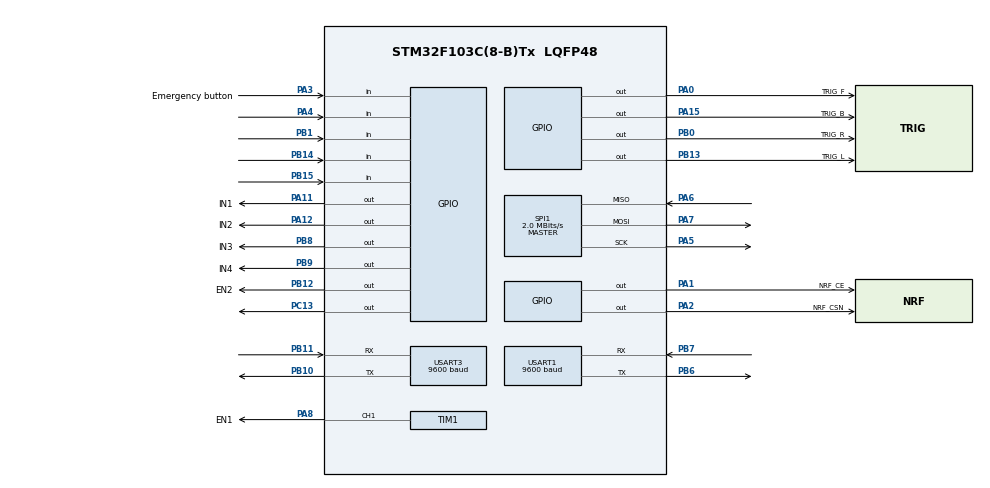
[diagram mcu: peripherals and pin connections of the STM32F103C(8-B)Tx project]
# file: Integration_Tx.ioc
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Mcu.Family=STM32F1
Mcu.Name=STM32F103C(8-B)Tx
Mcu.Package=LQFP48
NVIC.PriorityGroup=NVIC_PRIORITYGROUP_4
NVIC.TIM3_IRQn=true\:0\:0\:false\:false\:true\:true\:true\:true
NVIC.USART1_IRQn=true\:0\:0\:false\:false\:true\:true\:true\:true
PA0-WKUP.GPIO_Label=TRIG_F
PA0-WKUP.Signal=GPIO_Output
PA1.GPIO_Label=NRF_CE
PA1.Signal=GPIO_Output
PA11.GPIO_Label=IN1
PA11.Signal=GPIO_Output
PA12.GPIO_Label=IN2
PA12.Signal=GPIO_Output
PA13.Mode=Serial_Wire
PA13.Signal=SYS_JTMS-SWDIO
PA14.Mode=Serial_Wire
PA14.Signal=SYS_JTCK-SWCLK
PA15.GPIO_Label=TRIG_B
PA15.Signal=GPIO_Output
PA2.GPIO_Label=NRF_CSN
PA2.Signal=GPIO_Output
PA3.GPIO_Label=Emergency button
PA3.Signal=GPIO_Input
PA4.Signal=GPIO_Input
PA5.Mode=Full_Duplex_Master
PA5.Signal=SPI1_SCK
PA6.Mode=Full_Duplex_Master
PA6.Signal=SPI1_MISO
PA7.Mode=Full_Duplex_Master
PA7.Signal=SPI1_MOSI
PA8.GPIO_Label=EN1
PA8.Signal=S_TIM1_CH1
PB0.GPIO_Label=TRIG_R
PB0.Signal=GPIO_Output
PB1.Signal=GPIO_Input
PB10.Mode=Asynchronous
PB10.Signal=USART3_TX
PB11.Mode=Asynchronous
PB11.Signal=USART3_RX
PB12.GPIO_Label=EN2
PB12.Signal=GPIO_Output
PB13.GPIO_Label=TRIG_L
PB13.Signal=GPIO_Output
PB14.Signal=GPIO_Input
PB15.Signal=GPIO_Input
PB6.Mode=Asynchronous
PB6.Signal=USART1_TX
PB7.Mode=Asynchronous
PB7.Signal=USART1_RX
PB8.GPIO_Label=IN3
PB8.Signal=GPIO_Output
PB9.GPIO_Label=IN4
PB9.Signal=GPIO_Output
PC13-TAMPER-RTC.PinState=GPIO_PIN_SET
PC13-TAMPER-RTC.Signal=GPIO_Output
PD0-OSC_IN.Mode=HSE-External-Oscillator
PD0-OSC_IN.Signal=RCC_OSC_IN
PD1-OSC_OUT.Mode=HSE-External-Oscillator
PD1-OSC_OUT.Signal=RCC_OSC_OUT
ProjectManager.HeapSize=0x200
ProjectManager.StackSize=0x400
ProjectManager.TargetToolchain=STM32CubeIDE
RCC.APB1Freq_Value=8000000
RCC.APB2Freq_Value=8000000
RCC.PLLSourceVirtual=RCC_PLLSOURCE_HSE
RCC.SYSCLKSource=RCC_SYSCLKSOURCE_HSE
RCC.TimSys_Div=SYSTICK_CLKSOURCE_HCLK_DIV8
RCC.USBFreq_Value=16000000
SH.S_TIM1_CH1.0=TIM1_CH1,PWM Generation1 CH1
SPI1.BaudRatePrescaler=SPI_BAUDRATEPRESCALER_4
SPI1.CalculateBaudRate=2.0 MBits/s
SPI1.Direction=SPI_DIRECTION_2LINES
SPI1.Mode=SPI_MODE_MASTER
SPI1.VirtualType=VM_MASTER
TIM1.Channel-PWM\ Generation1\ CH1=TIM_CHANNEL_1
TIM1.Period=256
TIM1.Prescaler=64
TIM3.Period=50000
TIM3.Prescaler=32
USART1.BaudRate=9600
USART1.VirtualMode=VM_ASYNC
USART3.BaudRate=9600
USART3.VirtualMode=VM_ASYNC
VP_TIM2_VS_ClockSourceINT.Mode=Internal
VP_TIM3_VS_ClockSourceINT.Mode=Internal
board=custom

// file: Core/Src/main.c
/* USER CODE BEGIN Header */
/**
  ******************************************************************************
  * @file           : main.c
  * @brief          : Main program body
  ******************************************************************************
  * @attention
  *
  * Copyright (c) 2023 STMicroelectronics.
  * All rights reserved.
  *
  * This software is licensed under terms that can be found in the LICENSE file
  * in the root directory of this software component.
  * If no LICENSE file comes with this software, it is provided AS-IS.
  *
  ******************************************************************************
  */
/* USER CODE END Header */
#include "main.h"

/* USER CODE BEGIN Includes */
#include "HAL/dc_motor.h"
#include "HAL/Ultrasonic.h"
#include "HAL/HAL_NRF.h"
#include "HAL/GSM.h"
/* USER CODE END Includes */

SPI_HandleTypeDef hspi1;

TIM_HandleTypeDef htim1;
TIM_HandleTypeDef htim2;
TIM_HandleTypeDef htim3;

UART_HandleTypeDef huart1;
UART_HandleTypeDef huart3;

/* USER CODE BEGIN PV */

/* Car State */
uint8_t Car_State = STATE_STATIONARY ;
uint8_t Car_Direction  ;
uint8_t Car_Speed  ;
uint8_t System_Mode = Stationary_Mode ;

/* BM Receive Variable */
uint8_t rxData ;
uint8_t TMR_Counter = 0 ;

/* UltraSonic */
uint16_t US_ARR[4] = {50 , 50, 50 , 50} ;
uint8_t US_Decision = 0 ;

/* NRF */

/* Address of PIPE 1 */
uint8_t TxAddress[] = {0xEE,0xDD,0xCC,0xBB,0xAA} ;

/* Data to be Sent */
/*
 * S --> Speed
 * D --> Direction
 * M --> Distance
 * I --> Indication
 *
 */
uint8_t Data_States[4] = {'S','D','M','I'}  ;
uint8_t Data_Sent[8]  ;
uint8_t Debug_Var ;
DataTransfer_t Data_Tx ;

/* USER CODE END PV */

void SystemClock_Config(void);
static void MX_GPIO_Init(void);
static void MX_TIM1_Init(void);
static void MX_USART1_UART_Init(void);
static void MX_TIM3_Init(void);
static void MX_SPI1_Init(void);
static void MX_TIM2_Init(void);
static void MX_USART3_UART_Init(void);
/* USER CODE BEGIN PFP */
void APP_voidTakeDecision (uint8_t Copy_u8rxData);
void APP_voidModeUpdate() ;
/* USER CODE END PFP */

int main(void)
{

  /* MCU Configuration--------------------------------------------------------*/

  /* Reset of all peripherals, Initializes the Flash interface and the Systick. */
  HAL_Init();

  /* Configure the system clock */
  SystemClock_Config();

  /* Initialize all configured peripherals */
  MX_GPIO_Init();
  MX_TIM1_Init();
  MX_USART1_UART_Init();
  MX_TIM3_Init();
  MX_SPI1_Init();
  MX_TIM2_Init();
  MX_USART3_UART_Init();
  /* USER CODE BEGIN 2 */
  HAL_voidUltraSonicInit() ;
  HAL_UART_Receive_IT(&huart1,&rxData,1); // Enabling interrupt receive
  NRF_voidInit();
  GSM_VidInit();
  GSM_VidCheckConnection();
  NRF_voidTransmitterMode (TxAddress ,10 );

  Data_Tx.Speed 	 = 0 						;  /* Input from MOTION Branch     */
  Data_Tx.Direction  = FORWARD 					;  /* Input from MOTION Branch     */
  Data_Tx.Distance 	 = 0						;  /* Input from ULTRASONIC Branch */
  Data_Tx.Indication = INDICATION_NORMAL 	    ;  /* Input from Emergency		   */

  Data_Sent[6]     = Data_States[3]				;  /* Indication */

  /* USER CODE END 2 */

  /* Infinite loop */
  while (1)
  {

  }
}

void SystemClock_Config(void)
{
  RCC_OscInitTypeDef RCC_OscInitStruct = {0};
  RCC_ClkInitTypeDef RCC_ClkInitStruct = {0};

  /** Initializes the RCC Oscillators according to the specified parameters
  * in the RCC_OscInitTypeDef structure.
  */
  RCC_OscInitStruct.OscillatorType = RCC_OSCILLATORTYPE_HSE;
  RCC_OscInitStruct.HSEState = RCC_HSE_ON;
  RCC_OscInitStruct.PLL.PLLState = RCC_PLL_NONE;
  if (HAL_RCC_OscConfig(&RCC_OscInitStruct) != HAL_OK)
  {
    Error_Handler();
  }

  /** Initializes the CPU, AHB and APB buses clocks
  */
  RCC_ClkInitStruct.ClockType = RCC_CLOCKTYPE_HCLK|RCC_CLOCKTYPE_SYSCLK
                              |RCC_CLOCKTYPE_PCLK1|RCC_CLOCKTYPE_PCLK2;
  RCC_ClkInitStruct.SYSCLKSource = RCC_SYSCLKSOURCE_HSE;
  RCC_ClkInitStruct.AHBCLKDivider = RCC_SYSCLK_DIV1;
  RCC_ClkInitStruct.APB1CLKDivider = RCC_HCLK_DIV1;
  RCC_ClkInitStruct.APB2CLKDivider = RCC_HCLK_DIV1;

  if (HAL_RCC_ClockConfig(&RCC_ClkInitStruct, FLASH_LATENCY_0) != HAL_OK)
  {
    Error_Handler();
  }
}

static void MX_SPI1_Init(void)
{

  /* SPI1 parameter configuration*/
  hspi1.Instance = SPI1;
  hspi1.Init.Mode = SPI_MODE_MASTER;
  hspi1.Init.Direction = SPI_DIRECTION_2LINES;
  hspi1.Init.DataSize = SPI_DATASIZE_8BIT;
  hspi1.Init.CLKPolarity = SPI_POLARITY_LOW;
  hspi1.Init.CLKPhase = SPI_PHASE_1EDGE;
  hspi1.Init.NSS = SPI_NSS_SOFT;
  hspi1.Init.BaudRatePrescaler = SPI_BAUDRATEPRESCALER_4;
  hspi1.Init.FirstBit = SPI_FIRSTBIT_MSB;
  hspi1.Init.TIMode = SPI_TIMODE_DISABLE;
  hspi1.Init.CRCCalculation = SPI_CRCCALCULATION_DISABLE;
  hspi1.Init.CRCPolynomial = 10;
  if (HAL_SPI_Init(&hspi1) != HAL_OK)
  {
    Error_Handler();
  }

}

static void MX_TIM1_Init(void)
{

  TIM_MasterConfigTypeDef sMasterConfig = {0};
  TIM_OC_InitTypeDef sConfigOC = {0};
  TIM_BreakDeadTimeConfigTypeDef sBreakDeadTimeConfig = {0};

  htim1.Instance = TIM1;
  htim1.Init.Prescaler = 64;
  htim1.Init.CounterMode = TIM_COUNTERMODE_UP;
  htim1.Init.Period = 256;
  htim1.Init.ClockDivision = TIM_CLOCKDIVISION_DIV1;
  htim1.Init.RepetitionCounter = 0;
  htim1.Init.AutoReloadPreload = TIM_AUTORELOAD_PRELOAD_DISABLE;
  if (HAL_TIM_PWM_Init(&htim1) != HAL_OK)
  {
    Error_Handler();
  }
  sMasterConfig.MasterOutputTrigger = TIM_TRGO_RESET;
  sMasterConfig.MasterSlaveMode = TIM_MASTERSLAVEMODE_DISABLE;
  if (HAL_TIMEx_MasterConfigSynchronization(&htim1, &sMasterConfig) != HAL_OK)
  {
    Error_Handler();
  }
  sConfigOC.OCMode = TIM_OCMODE_PWM1;
  sConfigOC.Pulse = 0;
  sConfigOC.OCPolarity = TIM_OCPOLARITY_HIGH;
  sConfigOC.OCNPolarity = TIM_OCNPOLARITY_HIGH;
  sConfigOC.OCFastMode = TIM_OCFAST_DISABLE;
  sConfigOC.OCIdleState = TIM_OCIDLESTATE_RESET;
  sConfigOC.OCNIdleState = TIM_OCNIDLESTATE_RESET;
  if (HAL_TIM_PWM_ConfigChannel(&htim1, &sConfigOC, TIM_CHANNEL_1) != HAL_OK)
  {
    Error_Handler();
  }
  sBreakDeadTimeConfig.OffStateRunMode = TIM_OSSR_DISABLE;
  sBreakDeadTimeConfig.OffStateIDLEMode = TIM_OSSI_DISABLE;
  sBreakDeadTimeConfig.LockLevel = TIM_LOCKLEVEL_OFF;
  sBreakDeadTimeConfig.DeadTime = 0;
  sBreakDeadTimeConfig.BreakState = TIM_BREAK_DISABLE;
  sBreakDeadTimeConfig.BreakPolarity = TIM_BREAKPOLARITY_HIGH;
  sBreakDeadTimeConfig.AutomaticOutput = TIM_AUTOMATICOUTPUT_DISABLE;
  if (HAL_TIMEx_ConfigBreakDeadTime(&htim1, &sBreakDeadTimeConfig) != HAL_OK)
  {
    Error_Handler();
  }
  HAL_TIM_MspPostInit(&htim1);

}

static void MX_TIM2_Init(void)
{

  TIM_ClockConfigTypeDef sClockSourceConfig = {0};
  TIM_MasterConfigTypeDef sMasterConfig = {0};

  htim2.Instance = TIM2;
  htim2.Init.Prescaler = 0;
  htim2.Init.CounterMode = TIM_COUNTERMODE_UP;
  htim2.Init.Period = 65535;
  htim2.Init.ClockDivision = TIM_CLOCKDIVISION_DIV1;
  htim2.Init.AutoReloadPreload = TIM_AUTORELOAD_PRELOAD_DISABLE;
  if (HAL_TIM_Base_Init(&htim2) != HAL_OK)
  {
    Error_Handler();
  }
  sClockSourceConfig.ClockSource = TIM_CLOCKSOURCE_INTERNAL;
  if (HAL_TIM_ConfigClockSource(&htim2, &sClockSourceConfig) != HAL_OK)
  {
    Error_Handler();
  }
  sMasterConfig.MasterOutputTrigger = TIM_TRGO_RESET;
  sMasterConfig.MasterSlaveMode = TIM_MASTERSLAVEMODE_DISABLE;
  if (HAL_TIMEx_MasterConfigSynchronization(&htim2, &sMasterConfig) != HAL_OK)
  {
    Error_Handler();
  }

}

static void MX_TIM3_Init(void)
{

  TIM_ClockConfigTypeDef sClockSourceConfig = {0};
  TIM_MasterConfigTypeDef sMasterConfig = {0};

  htim3.Instance = TIM3;
  htim3.Init.Prescaler = 32;
  htim3.Init.CounterMode = TIM_COUNTERMODE_UP;
  htim3.Init.Period = 50000;
  htim3.Init.ClockDivision = TIM_CLOCKDIVISION_DIV1;
  htim3.Init.AutoReloadPreload = TIM_AUTORELOAD_PRELOAD_DISABLE;
  if (HAL_TIM_Base_Init(&htim3) != HAL_OK)
  {
    Error_Handler();
  }
  sClockSourceConfig.ClockSource = TIM_CLOCKSOURCE_INTERNAL;
  if (HAL_TIM_ConfigClockSource(&htim3, &sClockSourceConfig) != HAL_OK)
  {
    Error_Handler();
  }
  sMasterConfig.MasterOutputTrigger = TIM_TRGO_RESET;
  sMasterConfig.MasterSlaveMode = TIM_MASTERSLAVEMODE_DISABLE;
  if (HAL_TIMEx_MasterConfigSynchronization(&htim3, &sMasterConfig) != HAL_OK)
  {
    Error_Handler();
  }

}

static void MX_USART1_UART_Init(void)
{

  huart1.Instance = USART1;
  huart1.Init.BaudRate = 9600;
  huart1.Init.WordLength = UART_WORDLENGTH_8B;
  huart1.Init.StopBits = UART_STOPBITS_1;
  huart1.Init.Parity = UART_PARITY_NONE;
  huart1.Init.Mode = UART_MODE_TX_RX;
  huart1.Init.HwFlowCtl = UART_HWCONTROL_NONE;
  huart1.Init.OverSampling = UART_OVERSAMPLING_16;
  if (HAL_UART_Init(&huart1) != HAL_OK)
  {
    Error_Handler();
  }

}

static void MX_USART3_UART_Init(void)
{

  huart3.Instance = USART3;
  huart3.Init.BaudRate = 9600;
  huart3.Init.WordLength = UART_WORDLENGTH_8B;
  huart3.Init.StopBits = UART_STOPBITS_1;
  huart3.Init.Parity = UART_PARITY_NONE;
  huart3.Init.Mode = UART_MODE_TX_RX;
  huart3.Init.HwFlowCtl = UART_HWCONTROL_NONE;
  huart3.Init.OverSampling = UART_OVERSAMPLING_16;
  if (HAL_UART_Init(&huart3) != HAL_OK)
  {
    Error_Handler();
  }

}

static void MX_GPIO_Init(void)
{
  GPIO_InitTypeDef GPIO_InitStruct = {0};

  /* GPIO Ports Clock Enable */
  __HAL_RCC_GPIOC_CLK_ENABLE();
  __HAL_RCC_GPIOD_CLK_ENABLE();
  __HAL_RCC_GPIOA_CLK_ENABLE();
  __HAL_RCC_GPIOB_CLK_ENABLE();

  /*Configure GPIO pin Output Level */
  HAL_GPIO_WritePin(GPIOC, GPIO_PIN_13, GPIO_PIN_SET);

  /*Configure GPIO pin Output Level */
  HAL_GPIO_WritePin(GPIOA, TRIG_F_Pin|NRF_CE_Pin|NRF_CSN_Pin|IN1_Pin
                          |IN2_Pin|TRIG_B_Pin, GPIO_PIN_RESET);

  /*Configure GPIO pin Output Level */
  HAL_GPIO_WritePin(GPIOB, TRIG_R_Pin|EN2_Pin|TRIG_L_Pin|IN3_Pin
                          |IN4_Pin, GPIO_PIN_RESET);

  /*Configure GPIO pin : PC13 */
  GPIO_InitStruct.Pin = GPIO_PIN_13;
  GPIO_InitStruct.Mode = GPIO_MODE_OUTPUT_PP;
  GPIO_InitStruct.Pull = GPIO_NOPULL;
  GPIO_InitStruct.Speed = GPIO_SPEED_FREQ_LOW;
  HAL_GPIO_Init(GPIOC, &GPIO_InitStruct);

  /*Configure GPIO pins : TRIG_F_Pin NRF_CE_Pin NRF_CSN_Pin IN1_Pin
                           IN2_Pin TRIG_B_Pin */
  GPIO_InitStruct.Pin = TRIG_F_Pin|NRF_CE_Pin|NRF_CSN_Pin|IN1_Pin
                          |IN2_Pin|TRIG_B_Pin;
  GPIO_InitStruct.Mode = GPIO_MODE_OUTPUT_PP;
  GPIO_InitStruct.Pull = GPIO_NOPULL;
  GPIO_InitStruct.Speed = GPIO_SPEED_FREQ_LOW;
  HAL_GPIO_Init(GPIOA, &GPIO_InitStruct);

  /*Configure GPIO pins : Emergency_button_Pin PA4 */
  GPIO_InitStruct.Pin = Emergency_button_Pin|GPIO_PIN_4;
  GPIO_InitStruct.Mode = GPIO_MODE_INPUT;
  GPIO_InitStruct.Pull = GPIO_NOPULL;
  HAL_GPIO_Init(GPIOA, &GPIO_InitStruct);

  /*Configure GPIO pins : TRIG_R_Pin EN2_Pin TRIG_L_Pin IN3_Pin
                           IN4_Pin */
  GPIO_InitStruct.Pin = TRIG_R_Pin|EN2_Pin|TRIG_L_Pin|IN3_Pin
                          |IN4_Pin;
  GPIO_InitStruct.Mode = GPIO_MODE_OUTPUT_PP;
  GPIO_InitStruct.Pull = GPIO_NOPULL;
  GPIO_InitStruct.Speed = GPIO_SPEED_FREQ_LOW;
  HAL_GPIO_Init(GPIOB, &GPIO_InitStruct);

  /*Configure GPIO pins : PB1 PB14 PB15 */
  GPIO_InitStruct.Pin = GPIO_PIN_1|GPIO_PIN_14|GPIO_PIN_15;
  GPIO_InitStruct.Mode = GPIO_MODE_INPUT;
  GPIO_InitStruct.Pull = GPIO_NOPULL;
  HAL_GPIO_Init(GPIOB, &GPIO_InitStruct);

}

/* USER CODE BEGIN 4 */

/**
  * @brief USART1 CallBack Function
  * 	   Receive Commands from BM and Start to Move in certain Direction
  * 	   Depend on the Value of rxData
  *
  * 	   Any Action taken only for 2 Seconds .
  *
  * @param Handler
  * @retval None
  */

void HAL_UART_RxCpltCallback(UART_HandleTypeDef *huart)
{
  if(huart->Instance==USART1)
  {

	  APP_voidTakeDecision (rxData) ;
  }
}

/**
  * @brief
  * 	   Receive Commands from BM and Start to Move in certain Direction
  * 	   Depend on the Value of rxData
  * 	   Any Action will be executed  for 2 Seconds only  .
  *
  * @param Data from BM -->Copy_u8rxData
  * @retval None
  */

void APP_voidTakeDecision (uint8_t Copy_u8rxData)
{
	/* Start Timer */
	HAL_TIM_Base_Start_IT(&htim3) ;

	switch (Copy_u8rxData)
	{

	case 'F' :
		Car_Direction = FORWARD ;
		Car_State = STATE_MOVING ;
		break ;

	case 'B' :
		Car_Direction = BACKWARD ;
    	Car_State = STATE_MOVING ;
    	break ;

	case 'R' :
		Car_Direction = RIGHT ;
		Car_State = STATE_MOVING ;
    	break ;

	case 'L' :
		Car_Direction = LEFT ;
		Car_State = STATE_MOVING ;
    	break ;

	case 'P' :
		HAL_voidControlMotors(SPEED_0,STOP) ;
		Car_State = STATE_STOP ;
    	break ;

	}

	HAL_UART_Receive_IT(&huart1,&rxData,1); // Enabling interrupt receive again
	APP_voidModeUpdate();
	if(System_Mode == Comm_Mode || System_Mode == Dominant_Mode)
	{
		NRF_voidSendData (Data_Sent, 8 ,NRF_NUMBERS_EXIST);
	}
	if(System_Mode == Emergency_Mode && HAL_GPIO_ReadPin(GPIOA, GPIO_PIN_3))
	{
		GSM_VidSendSMS((uint8_t*)"01003676020", (uint8_t*)"Robbery is Happening");
	}
}

/**
  * @brief
  * 	   Update the Mode of operation that we are in
  *
  *
  *
  * @param Data from BM -->Copy_u8rxData
  * @retval None
  */

void APP_voidModeUpdate()
{
	if(US_ARR[US_BACKWARD] < 60 )
	{
		System_Mode = Comm_Mode ;
	}
	else
		System_Mode = Normal_Mode ;

	if(US_ARR[US_FORWARD] < 10 || HAL_GPIO_ReadPin(GPIOA,GPIO_PIN_3))
	{
		System_Mode = Emergency_Mode ;
	}
}

/**
  * @brief
  *  Call Back Function for Timer3
  *
  *
  *
  * @param Handler
  * @retval None
  */

void HAL_TIM_PeriodElapsedCallback(TIM_HandleTypeDef *htim)
{

	TMR_Counter ++ ;

    /* Reading of all UltraSonic */
    HAL_voidUltraSonic(US_ARR) ;

    /* Decision  */
    US_Decision = HAL_UltraSonic_Decision(US_ARR) ;

	if (US_Decision == 254)
	{
		Data_Tx.Indication = Normal_Mode 	;
		HAL_voidControlMotors(Normal_SPEED,Car_Direction) ;
		Car_Speed = Normal_SPEED ;
		HAL_UART_Transmit(&huart1,(uint8_t*)"D",1,100);
	}
	else if (US_Decision == STOP)
	{
		Data_Tx.Indication = INDICATION_SUDDEN_BRAKE 	;
		HAL_voidControlMotors(SPEED_0,STOP) ;
		Car_Speed = SPEED_0 ;
		HAL_UART_Transmit(&huart1,(uint8_t*)"P",1,100);
	}
	else if (US_Decision == SPEED_25)
	{
		Data_Tx.Indication = INDICATION_OBSTACLE 	;
		HAL_voidControlMotors(SPEED_25,Car_Direction) ;
		Car_Speed = SPEED_25 ;
		HAL_UART_Transmit(&huart1,(uint8_t*)"S",1,100);
	}

      /* Update NRF values*/
      Data_Tx.Distance = US_ARR[3] 							;  /* Backward UltraSonic reading */
	  Data_Sent[4]     = Data_States[2]						;  /* Distance  */
	  Data_Sent[5]     = Data_Tx.Distance				    ;
	  Data_Tx.Speed 	 = Car_Speed						;
	  Data_Tx.Direction  = Car_Direction 					;

	  Data_Sent[0] = Data_States[0]							;	/* Speed */
	  Data_Sent[1] = Data_Tx.Speed							;
	  Data_Sent[2] = Data_States[1]							;	/* Direction */
	  Data_Sent[3] = Data_Tx.Direction						;
	  Data_Sent[7] = Data_Tx.Indication						;

	/* Delay 2 Second */
	if (TMR_Counter == 10 )
	  {
		TMR_Counter = 0 ;
		HAL_voidControlMotors(SPEED_0 , STOP ) 	  ;
		HAL_TIM_Base_Stop_IT(&htim3)  ;

	  }

}

/* USER CODE END 4 */

void Error_Handler(void)
{
  __disable_irq();
  while (1)
  {
  }
}
